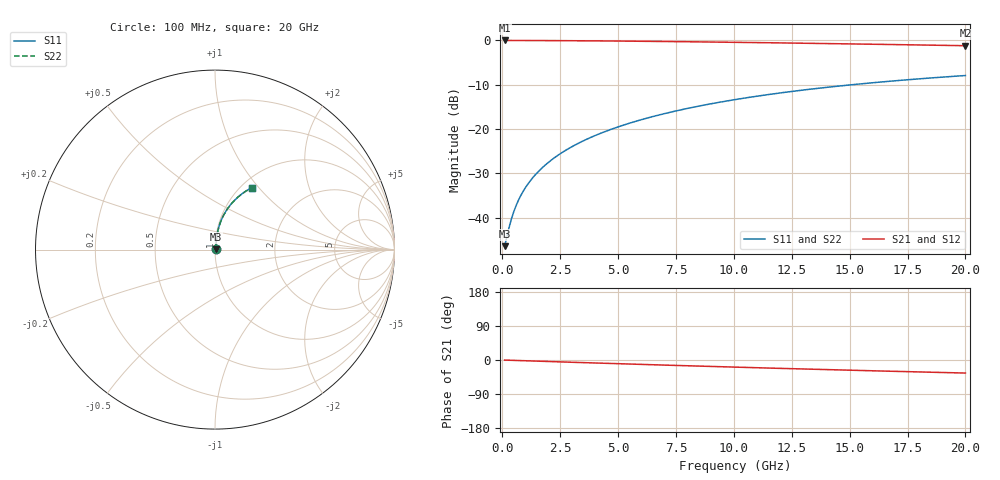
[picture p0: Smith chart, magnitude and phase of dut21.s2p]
! Touchstone file exported from HFSS 2024.1.0
!  File:  C:/UserFiles/LocalFiles/RDL_TSV_Batchsim/temp_RDL_top_21_1778680248.aedt
!  Generated:  09:53:01 PM May 13, 2026
!  Design:  RDL_top
!  Project:  temp_RDL_top_21_1778680248
!  Setup:  Setup1
!  Solution:  Sweep
! Variables:
!  dtsv = 10.80580581um
!  hbump = 3um
!  htsv = 58.68um
!  ldown = 100um
!  lrdl = 398.93um
!  p = 40
!  p1 = 57.74um
!  rhole = 1um
!  t = 450um
!  tdown = 3.915915916um
!  trdl = 2.07um
!  wdown = 15.38538539um
!  wrdl = 17.2um
# GHz S MA R 50.000000
! Terminal data exported
! Port[1] = Box2_T1
! Port[2] = Box2_T2
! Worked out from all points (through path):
!   200 points, 100 MHz to 20 GHz, reference 50 ohm
!   highest |S21| = -0.04 dB at 100 MHz (marker M1); lowest = -1.2 dB at 20 GHz (marker M2)
!   group delay of S21, straight-line fit = 4.77 ps
!   lowest |S11| = -46.4 dB at 100 MHz (marker M3), VSWR 1.01, Z = 50.4 + j0.222 ohm
!   |S11| at or under -10 dB: start of sweep to 15.13 GHz
!   |S22| runs from -46.4 to -7.9 dB; largest |S21 - S12| = 4.3e-15
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0.1  0.004781 27.3  0.9957 -0.2  0.9957 -0.2  0.004781 27.3
! Gamma 0 0 0 0
! Port Impedance 50 0 50 0
0.3  0.007885 56.2  0.9956 -0.6  0.9956 -0.6  0.007885 56.2
0.4  0.009791 62.6  0.9955 -0.8  0.9955 -0.8  0.009791 62.6
0.5  0.01177 66.9  0.9953 -1.0  0.9953 -1.0  0.01177 66.9
0.6  0.01377 69.8  0.9952 -1.2  0.9952 -1.2  0.01377 69.8
0.7  0.01578 72.0  0.995 -1.4  0.995 -1.4  0.01578 72.0
0.9  0.01983 74.9  0.9946 -1.8  0.9946 -1.8  0.01983 74.9
1.2  0.0259 77.6  0.9941 -2.4  0.9941 -2.4  0.0259 77.6
1.4  0.02997 78.8  0.9937 -2.8  0.9937 -2.8  0.02997 78.8
1.7  0.03609 80.0  0.993 -3.4  0.993 -3.4  0.03609 80.0
2.2  0.04638 81.2  0.9918 -4.4  0.9918 -4.4  0.04638 81.2
2.8  0.05886 81.8  0.99 -5.6  0.99 -5.6  0.05886 81.8
3.5  0.0736 82.0  0.9874 -6.9  0.9874 -6.9  0.07359 82.0
4.2  0.08849 81.8  0.9845 -8.3  0.9845 -8.3  0.08849 81.8
5  0.1057 81.3  0.9807 -9.8  0.9807 -9.8  0.1057 81.3
5.9  0.1251 80.4  0.9759 -11.4  0.9759 -11.4  0.1251 80.4
6.8  0.1447 79.4  0.9707 -13.1  0.9707 -13.1  0.1447 79.4
8.4  0.1793 77.2  0.9606 -16.0  0.9606 -16.0  0.1793 77.2
10.1  0.2156 74.6  0.9488 -18.9  0.9488 -18.9  0.2156 74.6
13.4  0.283 69.4  0.9238 -24.4  0.9238 -24.4  0.283 69.4
16.7  0.345 64.2  0.8969 -29.6  0.8969 -29.6  0.345 64.2
20  0.4008 59.2  0.869 -34.4  0.869 -34.4  0.4007 59.2
